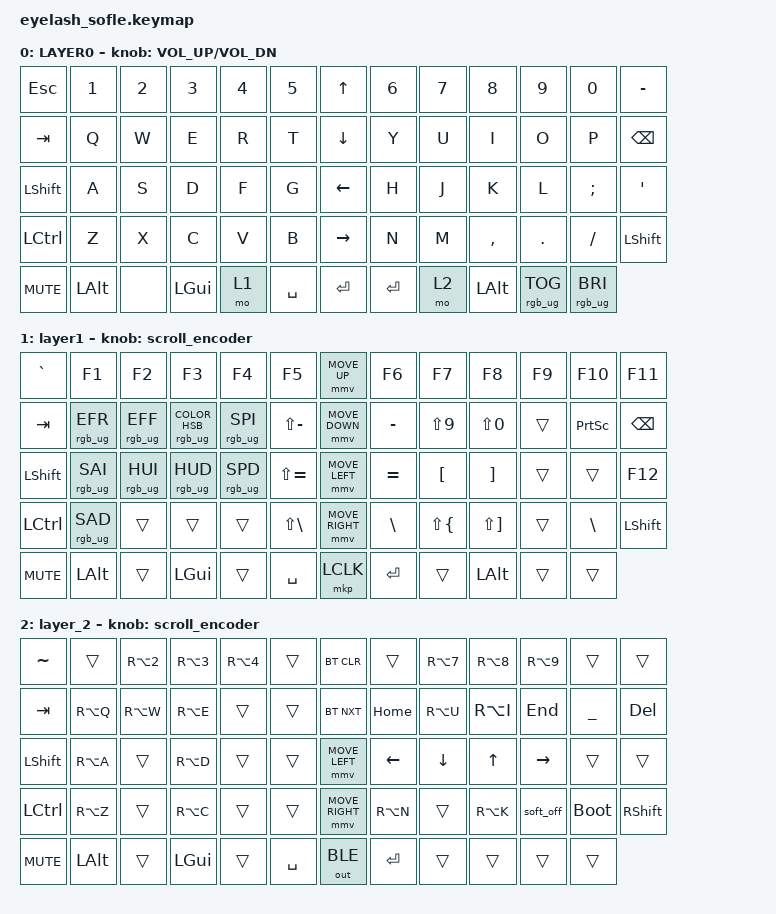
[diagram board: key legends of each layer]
#define ZMK_POINTING_DEFAULT_MOVE_VAL 1200  // 600
#define ZMK_POINTING_DEFAULT_SCRL_VAL 25   // 10

#include <input/processors.dtsi>
#include <zephyr/dt-bindings/input/input-event-codes.h>
#include <behaviors.dtsi>
#include <dt-bindings/zmk/bt.h>
#include <dt-bindings/zmk/keys.h>
#include <dt-bindings/zmk/outputs.h>
#include <dt-bindings/zmk/pointing.h>
#include <dt-bindings/zmk/rgb.h>

&mmv_input_listener { input-processors = <&zip_xy_scaler 2 1>; };

&msc_input_listener { input-processors = <&zip_scroll_scaler 2 1>; };

&msc {
    acceleration-exponent = <1>;      // 0
    time-to-max-speed-ms = <100>;       // 300
    delay-ms = <0>;                   // 0
};

&mmv {
    time-to-max-speed-ms = <500>;
    acceleration-exponent = <1>;
    trigger-period-ms = <16>;
};

&soft_off { hold-time-ms = <2000>; };

/ {
    scroll_encoder: scroll_encoder {
        compatible = "zmk,behavior-sensor-rotate";
        #sensor-binding-cells = <0>;
        bindings = <&msc SCRL_DOWN>, <&msc SCRL_UP>;

        tap-ms = <30>;
    };

    behaviors {
    };

    combos {
        compatible = "zmk,combos";

        softoff {
            bindings = <&soft_off>;
            key-positions = <14 28 40>;
        };
    };

    keymap {
        compatible = "zmk,keymap";

        layer0 {
            bindings = <
&kp ESC           &kp N1        &kp N2  &kp N3        &kp N4  &kp N5       &kp UP_ARROW     &kp N6     &kp N7  &kp N8        &kp N9           &kp N0           &kp MINUS
&kp TAB           &kp Q         &kp W   &kp E         &kp R   &kp T        &kp DOWN_ARROW   &kp Y      &kp U   &kp I         &kp O            &kp P            &kp BACKSPACE
&kp LEFT_SHIFT    &kp A         &kp S   &kp D         &kp F   &kp G        &kp LEFT_ARROW   &kp H      &kp J   &kp K         &kp L            &kp SEMI         &kp APOS
&kp LEFT_CONTROL  &kp Z         &kp X   &kp C         &kp V   &kp B        &kp RIGHT_ARROW  &kp N      &kp M   &kp COMMA     &kp DOT          &kp FSLH         &kp LEFT_SHIFT
&kp C_MUTE        &kp LEFT_ALT  &none   &kp LEFT_GUI  &mo 1   &kp SPACE    &kp ENTER        &kp ENTER  &mo 2   &kp LEFT_ALT  &rgb_ug RGB_TOG  &rgb_ug RGB_BRI
            >;

            sensor-bindings = <&inc_dec_kp C_VOLUME_UP C_VOL_DN>;
            display-name = "LAYER0";
        };

        layer_1 {
            bindings = <
&kp GRAVE         &kp F1           &kp F2           &kp F3                             &kp F4           &kp F5               &mmv MOVE_UP     &kp F6         &kp F7              &kp F8                 &kp F9  &kp F10          &kp F11
&kp TAB           &rgb_ug RGB_EFR  &rgb_ug RGB_EFF  &rgb_ug RGB_COLOR_HSB(212,100,50)  &rgb_ug RGB_SPI  &kp LS(MINUS)        &mmv MOVE_DOWN   &kp MINUS      &kp LS(N9)          &kp LS(N0)             &trans  &kp PRINTSCREEN  &kp BACKSPACE
&kp LEFT_SHIFT    &rgb_ug RGB_SAI  &rgb_ug RGB_HUI  &rgb_ug RGB_HUD                    &rgb_ug RGB_SPD  &kp LS(EQUAL)        &mmv MOVE_LEFT   &kp EQUAL      &kp LEFT_BRACKET    &kp RIGHT_BRACKET      &trans  &trans           &kp F12
&kp LEFT_CONTROL  &rgb_ug RGB_SAD  &trans           &trans                             &trans           &kp LS(BACKSLASH)    &mmv MOVE_RIGHT  &kp BACKSLASH  &kp LS(LEFT_BRACE)  &kp LS(RIGHT_BRACKET)  &trans  &kp BACKSLASH    &kp LSHIFT
&kp C_MUTE        &kp LEFT_ALT     &trans           &kp LEFT_GUI                       &trans           &kp SPACE            &mkp LCLK        &kp ENTER      &trans              &kp LEFT_ALT           &trans  &trans
            >;

            display-name = "layer1";
            sensor-bindings = <&scroll_encoder>;
        };

        layer_2 {
            bindings = <
&kp TILDE         &trans        &kp RA(NUMBER_2)  &kp RA(NUMBER_3)  &kp RA(NUMBER_4)  &trans       &bt BT_CLR       &trans          &kp RA(N7)  &kp RA(N8)    &kp RA(N9)       &trans       &trans
&kp TAB           &kp RA(Q)     &kp RA(W)         &kp RA(E)         &trans            &trans       &bt BT_NXT       &kp HOME        &kp RA(U)   &kp RA(I)     &kp END          &kp UNDER    &kp DEL
&kp LEFT_SHIFT    &kp RA(A)     &trans            &kp RA(D)         &trans            &trans       &mmv MOVE_LEFT   &kp LEFT_ARROW  &kp DOWN    &kp UP_ARROW  &kp RIGHT_ARROW  &trans       &trans
&kp LEFT_CONTROL  &kp RA(Z)     &trans            &kp RA(C)         &trans            &trans       &mmv MOVE_RIGHT  &kp RA(N)       &trans      &kp RA(K)     &soft_off        &bootloader  &kp RIGHT_SHIFT
&kp C_MUTE        &kp LEFT_ALT  &trans            &kp LEFT_GUI      &trans            &kp SPACE    &out OUT_BLE     &kp ENTER       &trans      &trans        &trans           &trans
            >;

            sensor-bindings = <&scroll_encoder>;
        };
    };
};
